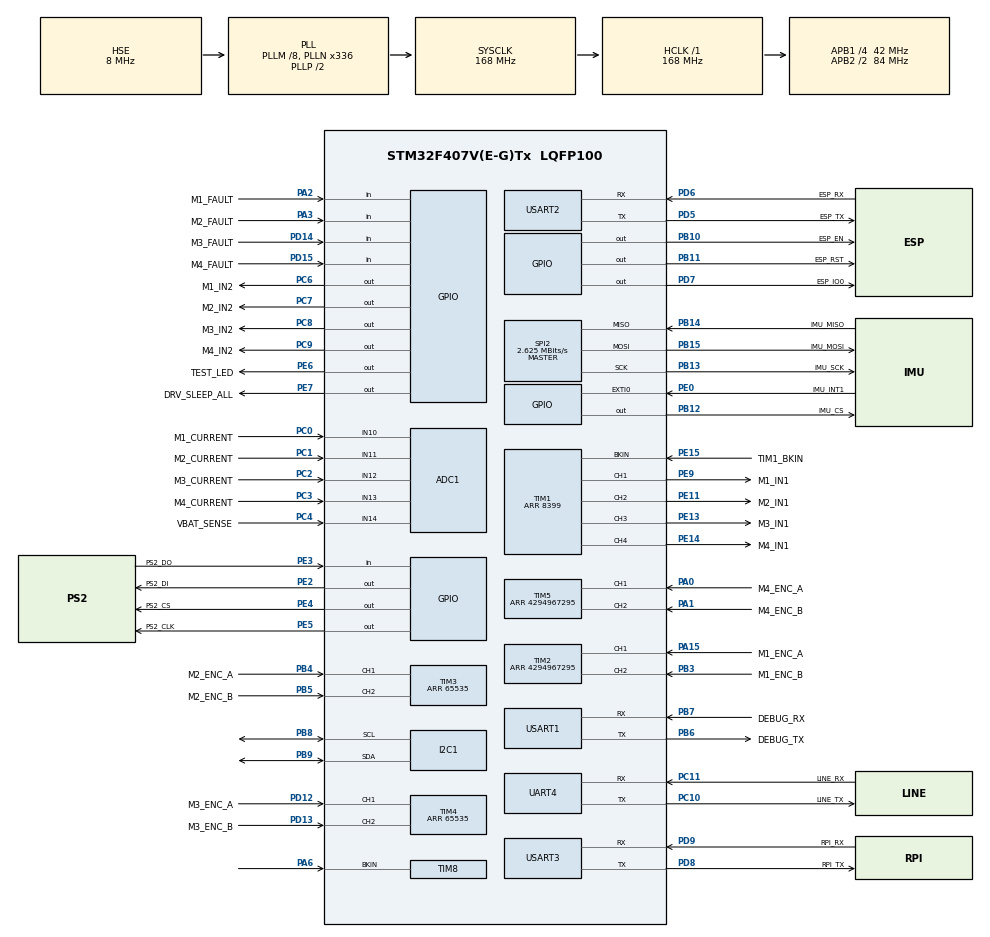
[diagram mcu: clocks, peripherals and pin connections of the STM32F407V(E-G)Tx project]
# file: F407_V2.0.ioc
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ADC1.Channel-5\#ChannelRegularConversion=ADC_CHANNEL_10
ADC1.Channel-6\#ChannelRegularConversion=ADC_CHANNEL_11
ADC1.Channel-7\#ChannelRegularConversion=ADC_CHANNEL_12
ADC1.Channel-8\#ChannelRegularConversion=ADC_CHANNEL_13
ADC1.Channel-9\#ChannelRegularConversion=ADC_CHANNEL_14
ADC1.ContinuousConvMode=DISABLE
ADC1.ExternalTrigConv=ADC_EXTERNALTRIGCONV_T8_TRGO
ADC1.ExternalTrigConvEdge=ADC_EXTERNALTRIGCONVEDGE_RISING
ADC1.DMAContinuousRequests=ENABLE
ADC1.NbrOfConversion=5
ADC1.NbrOfConversionFlag=1
ADC1.Rank-5\#ChannelRegularConversion=1
ADC1.Rank-6\#ChannelRegularConversion=2
ADC1.Rank-7\#ChannelRegularConversion=3
ADC1.Rank-8\#ChannelRegularConversion=4
ADC1.Rank-9\#ChannelRegularConversion=5
ADC1.SamplingTime-5\#ChannelRegularConversion=ADC_SAMPLETIME_84CYCLES
ADC1.SamplingTime-6\#ChannelRegularConversion=ADC_SAMPLETIME_84CYCLES
ADC1.SamplingTime-7\#ChannelRegularConversion=ADC_SAMPLETIME_84CYCLES
ADC1.SamplingTime-8\#ChannelRegularConversion=ADC_SAMPLETIME_84CYCLES
ADC1.SamplingTime-9\#ChannelRegularConversion=ADC_SAMPLETIME_84CYCLES
ADC1.master=1
Dma.ADC1.0.Direction=DMA_PERIPH_TO_MEMORY
Dma.ADC1.0.FIFOMode=DMA_FIFOMODE_DISABLE
Dma.ADC1.0.Instance=DMA2_Stream0
Dma.ADC1.0.MemDataAlignment=DMA_MDATAALIGN_HALFWORD
Dma.ADC1.0.MemInc=DMA_MINC_ENABLE
Dma.ADC1.0.Mode=DMA_CIRCULAR
Dma.ADC1.0.PeriphDataAlignment=DMA_PDATAALIGN_HALFWORD
Dma.ADC1.0.PeriphInc=DMA_PINC_DISABLE
Dma.ADC1.0.Priority=DMA_PRIORITY_MEDIUM
Dma.Request0=ADC1
Dma.Request1=USART3_RX
Dma.Request2=UART4_RX
Dma.UART4_RX.2.Direction=DMA_PERIPH_TO_MEMORY
Dma.UART4_RX.2.FIFOMode=DMA_FIFOMODE_DISABLE
Dma.UART4_RX.2.Instance=DMA1_Stream2
Dma.UART4_RX.2.MemDataAlignment=DMA_MDATAALIGN_BYTE
Dma.UART4_RX.2.MemInc=DMA_MINC_ENABLE
Dma.UART4_RX.2.Mode=DMA_CIRCULAR
Dma.UART4_RX.2.PeriphDataAlignment=DMA_PDATAALIGN_BYTE
Dma.UART4_RX.2.PeriphInc=DMA_PINC_DISABLE
Dma.UART4_RX.2.Priority=DMA_PRIORITY_MEDIUM
Dma.USART3_RX.1.Direction=DMA_PERIPH_TO_MEMORY
Dma.USART3_RX.1.FIFOMode=DMA_FIFOMODE_DISABLE
Dma.USART3_RX.1.Instance=DMA1_Stream1
Dma.USART3_RX.1.MemDataAlignment=DMA_MDATAALIGN_BYTE
Dma.USART3_RX.1.MemInc=DMA_MINC_ENABLE
Dma.USART3_RX.1.Mode=DMA_CIRCULAR
Dma.USART3_RX.1.PeriphDataAlignment=DMA_PDATAALIGN_BYTE
Dma.USART3_RX.1.PeriphInc=DMA_PINC_DISABLE
Dma.USART3_RX.1.Priority=DMA_PRIORITY_HIGH
FREERTOS.INCLUDE_pcTaskGetTaskName=1
FREERTOS.INCLUDE_uxTaskGetStackHighWaterMark2=1
FREERTOS.Tasks01=safetyTask,40,256,StartTask02,Default,NULL,Dynamic,NULL,NULL;motorTask,32,512,StartTask03,Default,NULL,Dynamic,NULL,NULL;rpiCommTask,24,512,StartTask04,Default,NULL,Dynamic,NULL,NULL;imuTask,24,512,StartTask05,Default,NULL,Dynamic,NULL,NULL;lineTask,16,1024,StartTask06,Default,NULL,Dynamic,NULL,NULL;espTask,16,512,StartTask07,Default,NULL,Dynamic,NULL,NULL;debugTask,16,1024,Task_Debug,Default,NULL,Dynamic,NULL,NULL;ps2Task,24,512,Task_Ps2,Default,NULL,Dynamic,NULL,NULL;ledTask,8,128,Task_Led,Default,NULL,Dynamic,NULL,NULL;oledTask,8,256,Task_Oled,Default,NULL,Dynamic,NULL,NULL
FREERTOS.configCHECK_FOR_STACK_OVERFLOW=2
FREERTOS.configTOTAL_HEAP_SIZE=49152
FREERTOS.configUSE_MALLOC_FAILED_HOOK=1
IWDG.Prescaler=IWDG_PRESCALER_32
IWDG.Reload=1000
Mcu.Family=STM32F4
Mcu.Name=STM32F407V(E-G)Tx
Mcu.Package=LQFP100
NVIC.DMA1_Stream1_IRQn=true\:5\:0\:false\:false\:true\:true\:false\:true\:true
NVIC.DMA1_Stream2_IRQn=true\:5\:0\:false\:false\:true\:true\:false\:true\:true
NVIC.DMA2_Stream0_IRQn=true\:5\:0\:false\:false\:true\:true\:false\:true\:true
NVIC.EXTI0_IRQn=true\:5\:0\:false\:false\:true\:true\:true\:true\:true
NVIC.PriorityGroup=NVIC_PRIORITYGROUP_4
NVIC.TIM1_BRK_TIM9_IRQn=true\:5\:0\:false\:false\:true\:true\:true\:true\:true
NVIC.TIM6_DAC_IRQn=true\:15\:0\:false\:false\:true\:false\:false\:true\:true
NVIC.TimeBase=TIM6_DAC_IRQn
NVIC.TimeBaseIP=TIM6
NVIC.UART4_IRQn=true\:6\:0\:true\:false\:true\:true\:true\:true\:true
NVIC.USART2_IRQn=true\:7\:0\:true\:false\:true\:true\:true\:true\:true
NVIC.USART3_IRQn=true\:6\:0\:true\:false\:true\:true\:true\:true\:true
PA0-WKUP.GPIO_Label=M4_ENC_A
PA0-WKUP.Signal=S_TIM5_CH1
PA1.GPIO_Label=M4_ENC_B
PA1.Signal=S_TIM5_CH2
PA13.Mode=Serial_Wire
PA13.Signal=SYS_JTMS-SWDIO
PA14.Mode=Serial_Wire
PA14.Signal=SYS_JTCK-SWCLK
PA15.GPIO_Label=M1_ENC_A
PA15.Signal=S_TIM2_CH1_ETR
PA2.GPIO_Label=M1_FAULT
PA2.GPIO_PuPd=GPIO_PULLUP
PA2.Signal=GPIO_Input
PA3.GPIO_Label=M2_FAULT
PA3.GPIO_PuPd=GPIO_PULLUP
PA3.Signal=GPIO_Input
PA6.Mode=Activate-Break-Input
PA6.Signal=TIM8_BKIN
PB10.GPIO_Label=ESP_EN
PB10.PinState=GPIO_PIN_SET
PB10.Signal=GPIO_Output
PB11.GPIO_Label=ESP_RST
PB11.PinState=GPIO_PIN_SET
PB11.Signal=GPIO_Output
PB12.GPIO_Label=IMU_CS
PB12.PinState=GPIO_PIN_SET
PB12.Signal=GPIO_Output
PB13.GPIO_Label=IMU_SCK
PB13.Mode=Full_Duplex_Master
PB13.Signal=SPI2_SCK
PB14.GPIO_Label=IMU_MISO
PB14.Mode=Full_Duplex_Master
PB14.Signal=SPI2_MISO
PB15.GPIO_Label=IMU_MOSI
PB15.Mode=Full_Duplex_Master
PB15.Signal=SPI2_MOSI
PB3.GPIO_Label=M1_ENC_B
PB3.Signal=S_TIM2_CH2
PB4.GPIO_Label=M2_ENC_A
PB4.Signal=S_TIM3_CH1
PB5.GPIO_Label=M2_ENC_B
PB5.Signal=S_TIM3_CH2
PB6.GPIO_Label=DEBUG_TX
PB6.Mode=Asynchronous
PB6.Signal=USART1_TX
PB7.GPIO_Label=DEBUG_RX
PB7.Mode=Asynchronous
PB7.Signal=USART1_RX
PB8.Mode=I2C
PB8.Signal=I2C1_SCL
PB9.Mode=I2C
PB9.Signal=I2C1_SDA
PC0.GPIO_Label=M1_CURRENT
PC0.Signal=ADCx_IN10
PC1.GPIO_Label=M2_CURRENT
PC1.Signal=ADCx_IN11
PC10.GPIO_Label=LINE_TX
PC10.Mode=Asynchronous
PC10.Signal=UART4_TX
PC11.GPIO_Label=LINE_RX
PC11.Mode=Asynchronous
PC11.Signal=UART4_RX
PC2.GPIO_Label=M3_CURRENT
PC2.Signal=ADCx_IN12
PC3.GPIO_Label=M4_CURRENT
PC3.Signal=ADCx_IN13
PC4.GPIO_Label=VBAT_SENSE
PC4.Signal=ADCx_IN14
PC6.GPIO_Label=M1_IN2
PC6.PinState=GPIO_PIN_RESET
PC6.Signal=GPIO_Output
PC7.GPIO_Label=M2_IN2
PC7.PinState=GPIO_PIN_RESET
PC7.Signal=GPIO_Output
PC8.GPIO_Label=M3_IN2
PC8.PinState=GPIO_PIN_RESET
PC8.Signal=GPIO_Output
PC9.GPIO_Label=M4_IN2
PC9.PinState=GPIO_PIN_RESET
PC9.Signal=GPIO_Output
PD12.GPIO_Label=M3_ENC_A
PD12.Signal=S_TIM4_CH1
PD13.GPIO_Label=M3_ENC_B
PD13.Signal=S_TIM4_CH2
PD14.GPIO_Label=M3_FAULT
PD14.GPIO_PuPd=GPIO_PULLUP
PD14.Signal=GPIO_Input
PD15.GPIO_Label=M4_FAULT
PD15.GPIO_PuPd=GPIO_PULLUP
PD15.Signal=GPIO_Input
PD5.GPIO_Label=ESP_TX
PD5.Mode=Asynchronous
PD5.Signal=USART2_TX
PD6.GPIO_Label=ESP_RX
PD6.Mode=Asynchronous
PD6.Signal=USART2_RX
PD7.GPIO_Label=ESP_IO0
PD7.PinState=GPIO_PIN_SET
PD7.Signal=GPIO_Output
PD8.GPIO_Label=RPI_TX
PD8.Mode=Asynchronous
PD8.Signal=USART3_TX
PD9.GPIO_Label=RPI_RX
PD9.Mode=Asynchronous
PD9.Signal=USART3_RX
PE0.GPIO_Label=IMU_INT1
PE0.Signal=GPXTI0
PE11.GPIO_Label=M2_IN1
PE11.Signal=S_TIM1_CH2
PE13.GPIO_Label=M3_IN1
PE13.Signal=S_TIM1_CH3
PE14.GPIO_Label=M4_IN1
PE14.Signal=S_TIM1_CH4
PE15.GPIO_Label=TIM1_BKIN
PE15.Mode=Activate-Break-Input
PE15.Signal=TIM1_BKIN
PE2.GPIO_Label=PS2_DI
PE2.PinState=GPIO_PIN_SET
PE2.Signal=GPIO_Output
PE3.GPIO_Label=PS2_DO
PE3.GPIO_PuPd=GPIO_PULLUP
PE3.Signal=GPIO_Input
PE4.GPIO_Label=PS2_CS
PE4.PinState=GPIO_PIN_SET
PE4.Signal=GPIO_Output
PE5.GPIO_Label=PS2_CLK
PE5.PinState=GPIO_PIN_SET
PE5.Signal=GPIO_Output
PE6.GPIO_Label=TEST_LED
PE6.Signal=GPIO_Output
PE7.GPIO_Label=DRV_SLEEP_ALL
PE7.Signal=GPIO_Output
PE9.GPIO_Label=M1_IN1
PE9.Signal=S_TIM1_CH1
PH0-OSC_IN.Mode=HSE-External-Oscillator
PH0-OSC_IN.Signal=RCC_OSC_IN
PH1-OSC_OUT.Mode=HSE-External-Oscillator
PH1-OSC_OUT.Signal=RCC_OSC_OUT
ProjectManager.HeapSize=0x2000
ProjectManager.StackSize=0x1000
ProjectManager.TargetToolchain=CMake
RCC.48MHZClocksFreq_Value=84000000
RCC.AHBFreq_Value=168000000
RCC.APB1CLKDivider=RCC_HCLK_DIV4
RCC.APB1Freq_Value=42000000
RCC.APB1TimFreq_Value=84000000
RCC.APB2CLKDivider=RCC_HCLK_DIV2
RCC.APB2Freq_Value=84000000
RCC.APB2TimFreq_Value=168000000
RCC.CortexFreq_Value=168000000
RCC.HCLKFreq_Value=168000000
RCC.HSE_VALUE=8000000
RCC.HSI_VALUE=16000000
RCC.LSE_VALUE=32768
RCC.PLLM=4
RCC.PLLN=168
RCC.PLLSourceVirtual=RCC_PLLSOURCE_HSE
RCC.SYSCLKFreq_VALUE=168000000
RCC.SYSCLKSource=RCC_SYSCLKSOURCE_PLLCLK
RCC.VCOOutputFreq_Value=336000000
SH.ADCx_IN10.0=ADC1_IN10,IN10
SH.ADCx_IN11.0=ADC1_IN11,IN11
SH.ADCx_IN12.0=ADC1_IN12,IN12
SH.ADCx_IN13.0=ADC1_IN13,IN13
SH.ADCx_IN14.0=ADC1_IN14,IN14
SH.S_TIM1_CH1.0=TIM1_CH1,PWM Generation1 CH1
SH.S_TIM1_CH2.0=TIM1_CH2,PWM Generation2 CH2
SH.S_TIM1_CH3.0=TIM1_CH3,PWM Generation3 CH3
SH.S_TIM1_CH4.0=TIM1_CH4,PWM Generation4 CH4
SH.S_TIM2_CH1_ETR.0=TIM2_CH1,Encoder_Interface
SH.S_TIM2_CH2.0=TIM2_CH2,Encoder_Interface
SH.S_TIM3_CH1.0=TIM3_CH1,Encoder_Interface
SH.S_TIM3_CH2.0=TIM3_CH2,Encoder_Interface
SH.S_TIM4_CH1.0=TIM4_CH1,Encoder_Interface
SH.S_TIM4_CH2.0=TIM4_CH2,Encoder_Interface
SH.S_TIM5_CH1.0=TIM5_CH1,Encoder_Interface
SH.S_TIM5_CH2.0=TIM5_CH2,Encoder_Interface
SPI2.BaudRatePrescaler=SPI_BAUDRATEPRESCALER_16
SPI2.CalculateBaudRate=2.625 MBits/s
SPI2.Direction=SPI_DIRECTION_2LINES
SPI2.Mode=SPI_MODE_MASTER
SPI2.VirtualType=VM_MASTER
TIM1.BreakPolarity=TIM_BREAKPOLARITY_LOW
TIM1.AutomaticOutput=TIM_AUTOMATICOUTPUT_DISABLE
TIM1.Channel-PWM\ Generation1\ CH1=TIM_CHANNEL_1
TIM1.Channel-PWM\ Generation2\ CH2=TIM_CHANNEL_2
TIM1.Channel-PWM\ Generation3\ CH3=TIM_CHANNEL_3
TIM1.Channel-PWM\ Generation4\ CH4=TIM_CHANNEL_4
TIM1.Period=8399
TIM2.EncoderMode=TIM_ENCODERMODE_TI12
TIM2.IC1Filter=8
TIM2.IC2Filter=8
TIM2.Period=4294967295
TIM3.EncoderMode=TIM_ENCODERMODE_TI12
TIM3.IC1Filter=8
TIM3.IC2Filter=8
TIM3.Period=65535
TIM4.EncoderMode=TIM_ENCODERMODE_TI12
TIM4.IC1Filter=8
TIM4.IC2Filter=8
TIM4.Period=65535
TIM5.EncoderMode=TIM_ENCODERMODE_TI12
TIM5.IC1Filter=8
TIM5.IC2Filter=8
TIM5.Period=4294967295
TIM8.BreakPolarity=TIM_BREAKPOLARITY_LOW
TIM8.AutomaticOutput=TIM_AUTOMATICOUTPUT_ENABLE
TIM8.MasterOutputTrigger=TIM_TRGO_UPDATE
TIM8.Period=8399
TIM8.RepetitionCounter=9
UART4.VirtualMode=Asynchronous
USART1.VirtualMode=VM_ASYNC
USART2.VirtualMode=VM_ASYNC
USART3.VirtualMode=VM_ASYNC
VP_FREERTOS_VS_CMSIS_V2.Mode=CMSIS_V2
VP_IWDG_VS_IWDG.Mode=IWDG_Activate
VP_SYS_VS_tim6.Mode=TIM6
VP_TIM1_VS_ClockSourceINT.Mode=Internal
VP_TIM8_VS_ClockSourceINT.Mode=Internal
board=custom

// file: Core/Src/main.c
/* USER CODE BEGIN Header */
/**
  ******************************************************************************
  * @file           : main.c
  * @brief          : Main program body
  ******************************************************************************
  * @attention
  *
  * Copyright (c) 2026 STMicroelectronics.
  * All rights reserved.
  *
  * This software is licensed under terms that can be found in the LICENSE file
  * in the root directory of this software component.
  * If no LICENSE file comes with this software, it is provided AS-IS.
  *
  ******************************************************************************
  */
/* USER CODE END Header */
#include "main.h"
#include "cmsis_os.h"
#include "adc.h"
#include "dma.h"
#include "i2c.h"
#include "spi.h"
#include "tim.h"
#include "usart.h"
#include "gpio.h"

/* USER CODE BEGIN Includes */
#include "platform_reset_trace.h"

/* USER CODE END Includes */

void SystemClock_Config(void);
void MX_FREERTOS_Init(void);

/* USER CODE BEGIN 0 */
static void Error_DisableMotorDriver(void)
{
  DRV_SLEEP_ALL_GPIO_Port->BSRR = ((uint32_t)DRV_SLEEP_ALL_Pin << 16U);
}

/* USER CODE END 0 */

int main(void)
{

  /* MCU Configuration--------------------------------------------------------*/

  /* Reset of all peripherals, Initializes the Flash interface and the Systick. */
  HAL_Init();

  /* Configure the system clock */
  SystemClock_Config();

  /* Initialize all configured peripherals */
  MX_GPIO_Init();
  MX_DMA_Init();
  MX_ADC1_Init();
  MX_I2C1_Init();
  MX_TIM1_Init();
  MX_TIM2_Init();
  MX_TIM3_Init();
  MX_TIM4_Init();
  MX_TIM5_Init();
  MX_TIM8_Init();
  MX_USART1_UART_Init();
  MX_USART2_UART_Init();
  MX_USART3_UART_Init();
  MX_SPI2_Init();
  MX_UART4_Init();

  /* Init scheduler */
  osKernelInitialize();  /* Call init function for freertos objects (in cmsis_os2.c) */
  MX_FREERTOS_Init();

  /* Start scheduler */
  osKernelStart();

  /* We should never get here as control is now taken by the scheduler */

  /* Infinite loop */
  while (1)
  {

  }
}

void SystemClock_Config(void)
{
  RCC_OscInitTypeDef RCC_OscInitStruct = {0};
  RCC_ClkInitTypeDef RCC_ClkInitStruct = {0};

  /** Configure the main internal regulator output voltage
  */
  __HAL_RCC_PWR_CLK_ENABLE();
  __HAL_PWR_VOLTAGESCALING_CONFIG(PWR_REGULATOR_VOLTAGE_SCALE1);

  /** Initializes the RCC Oscillators according to the specified parameters
  * in the RCC_OscInitTypeDef structure.
  */
  RCC_OscInitStruct.OscillatorType = RCC_OSCILLATORTYPE_HSE|RCC_OSCILLATORTYPE_LSI;
  RCC_OscInitStruct.HSEState = RCC_HSE_ON;
  RCC_OscInitStruct.LSIState = RCC_LSI_ON;
  RCC_OscInitStruct.PLL.PLLState = RCC_PLL_ON;
  RCC_OscInitStruct.PLL.PLLSource = RCC_PLLSOURCE_HSE;
  RCC_OscInitStruct.PLL.PLLM = 8;
  RCC_OscInitStruct.PLL.PLLN = 336;
  RCC_OscInitStruct.PLL.PLLP = RCC_PLLP_DIV2;
  RCC_OscInitStruct.PLL.PLLQ = 7;
  if (HAL_RCC_OscConfig(&RCC_OscInitStruct) != HAL_OK)
  {
    Error_Handler();
  }

  /** Initializes the CPU, AHB and APB buses clocks
  */
  RCC_ClkInitStruct.ClockType = RCC_CLOCKTYPE_HCLK|RCC_CLOCKTYPE_SYSCLK
                              |RCC_CLOCKTYPE_PCLK1|RCC_CLOCKTYPE_PCLK2;
  RCC_ClkInitStruct.SYSCLKSource = RCC_SYSCLKSOURCE_PLLCLK;
  RCC_ClkInitStruct.AHBCLKDivider = RCC_SYSCLK_DIV1;
  RCC_ClkInitStruct.APB1CLKDivider = RCC_HCLK_DIV4;
  RCC_ClkInitStruct.APB2CLKDivider = RCC_HCLK_DIV2;

  if (HAL_RCC_ClockConfig(&RCC_ClkInitStruct, FLASH_LATENCY_5) != HAL_OK)
  {
    Error_Handler();
  }
}

void HAL_TIM_PeriodElapsedCallback(TIM_HandleTypeDef *htim)
{
  if (htim->Instance == TIM6)
  {
    HAL_IncTick();
  }
}

void Error_Handler(void)
{
  /* USER CODE BEGIN Error_Handler_Debug */
  /* User can add his own implementation to report the HAL error return state */
  PlatformResetTrace_Capture(RESET_TRACE_KIND_ERROR_HANDLER, 0U, 0U);
  Error_DisableMotorDriver();
  __disable_irq();
  while (1)
  {
  }
  /* USER CODE END Error_Handler_Debug */
}

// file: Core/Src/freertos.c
/* USER CODE BEGIN Header */
/**
  ******************************************************************************
  * File Name          : freertos.c
  * Description        : Code for freertos applications
  ******************************************************************************
  * @attention
  *
  * Copyright (c) 2026 STMicroelectronics.
  * All rights reserved.
  *
  * This software is licensed under terms that can be found in the LICENSE file
  * in the root directory of this software component.
  * If no LICENSE file comes with this software, it is provided AS-IS.
  *
  ******************************************************************************
  */
/* USER CODE END Header */

#include "FreeRTOS.h"
#include "task.h"
#include "main.h"
#include "cmsis_os.h"

/* USER CODE BEGIN Includes */
#include "app_init.h"
#include "app_tasks.h"
#include "platform_reset.h"
#include "platform_task_event.h"
#include "platform_watchdog.h"
#include "platform_reset_trace.h"

#include <string.h>

/* USER CODE END Includes */

/* USER CODE BEGIN PD */
#define FREERTOS_FATAL_ASSERT          1UL
#define FREERTOS_FATAL_STACK_OVERFLOW  2UL
#define FREERTOS_FATAL_MALLOC_FAILED   3UL
#define FREERTOS_FATAL_TASK_CREATE     4UL
#define SAFETY_TASK_STACK_SIZE_BYTES   4096U
#define SAFETY_TASK_STACK_MIN_BYTES    3072U
#define MOTOR_TASK_STACK_SIZE_BYTES    3072U
#define MOTOR_TASK_STACK_MIN_BYTES     3072U
#define OLED_TASK_STACK_SIZE_BYTES     2048U
#define OLED_TASK_STACK_MIN_BYTES      2048U

_Static_assert(SAFETY_TASK_STACK_SIZE_BYTES >= SAFETY_TASK_STACK_MIN_BYTES,
               "safetyTask stack is below the monitored-control budget");
_Static_assert(MOTOR_TASK_STACK_SIZE_BYTES >= MOTOR_TASK_STACK_MIN_BYTES,
               "motorTask stack is below the closed-loop diagnostic budget");
_Static_assert(OLED_TASK_STACK_SIZE_BYTES >= OLED_TASK_STACK_MIN_BYTES,
               "oledTask stack is below the runtime-page budget");

/* USER CODE END PD */

/* USER CODE BEGIN Variables */
volatile uint32_t freertos_fatal_reason;
volatile uint32_t freertos_fatal_line;
volatile const char *freertos_fatal_file;

osThreadId_t usart1DebugTaskHandle;
const osThreadAttr_t usart1DebugTask_attributes = {
  .name = "debugTask",
  .stack_size = 2048 * 6,
  .priority = (osPriority_t) osPriorityBelowNormal,
};

osThreadId_t ps2TaskHandle;
const osThreadAttr_t ps2Task_attributes = {
  .name = "ps2Task",
  .stack_size = 512 * 4,
  .priority = (osPriority_t) osPriorityNormal,
};

osThreadId_t ledTaskHandle;
const osThreadAttr_t ledTask_attributes = {
  .name = "ledTask",
  .stack_size = 128 * 4,
  .priority = (osPriority_t) osPriorityLow,
};

osThreadId_t oledTaskHandle;
const osThreadAttr_t oledTask_attributes = {
  .name = "oledTask",
  .stack_size = OLED_TASK_STACK_SIZE_BYTES,
  .priority = (osPriority_t) osPriorityLow,
};

/* USER CODE END Variables */
/* Definitions for safetyTask */
osThreadId_t safetyTaskHandle;
const osThreadAttr_t safetyTask_attributes = {
  .name = "safetyTask",
  .stack_size = SAFETY_TASK_STACK_SIZE_BYTES,
  .priority = (osPriority_t) osPriorityHigh,
};
/* Definitions for motorTask */
osThreadId_t motorTaskHandle;
const osThreadAttr_t motorTask_attributes = {
  .name = "motorTask",
  .stack_size = MOTOR_TASK_STACK_SIZE_BYTES,
  .priority = (osPriority_t) osPriorityAboveNormal,
};
/* Definitions for rpiCommTask */
osThreadId_t rpiCommTaskHandle;
const osThreadAttr_t rpiCommTask_attributes = {
  .name = "rpiCommTask",
  .stack_size = 512 * 4,
  .priority = (osPriority_t) osPriorityNormal,
};
/* Definitions for imuTask */
osThreadId_t imuTaskHandle;
const osThreadAttr_t imuTask_attributes = {
  .name = "imuTask",
  .stack_size = 512 * 4,
  .priority = (osPriority_t) osPriorityNormal,
};
/* Definitions for lineTask */
osThreadId_t lineTaskHandle;
const osThreadAttr_t lineTask_attributes = {
  .name = "lineTask",
  .stack_size = 1024 * 4,
  .priority = (osPriority_t) osPriorityBelowNormal,
};
/* Definitions for espTask */
osThreadId_t espTaskHandle;
const osThreadAttr_t espTask_attributes = {
  .name = "espTask",
  .stack_size = 512 * 4,
  .priority = (osPriority_t) osPriorityBelowNormal,
};
/* USER CODE BEGIN FunctionPrototypes */
static void FreeRtos_FatalStop(uint32_t reason,
                               const char *file,
                               uint32_t line,
                               reset_trace_task_t task);
static reset_trace_task_t FreeRtos_TaskFromName(const char *name);

/* USER CODE END FunctionPrototypes */

void StartTask02(void *argument);  /* safetyTask — 状态聚合/看门狗 */
void StartTask03(void *argument);  /* motorTask — 电机控制链 */
void StartTask04(void *argument);  /* rpiCommTask — USART3 上位机协议 */
void StartTask05(void *argument);  /* imuTask — BMI270 采样 */
void StartTask06(void *argument);  /* lineTask — 巡线传感器 */
void StartTask07(void *argument);  /* espTask — ESP12F 协议 */
void Task_Debug(void *argument);
void Task_Ps2(void *argument);
void Task_Led(void *argument);
void Task_Oled(void *argument);

void MX_FREERTOS_Init(void); /* (MISRA C 2004 rule 8.1) */

/* Hook prototypes */
void vApplicationStackOverflowHook(xTaskHandle xTask, signed char *pcTaskName);
void vApplicationMallocFailedHook(void);

/* USER CODE BEGIN 4 */
static reset_trace_task_t FreeRtos_TaskFromName(const char *name)
{
  if (name == NULL)
  {
    return RESET_TRACE_TASK_NONE;
  }
  if (strcmp(name, "safetyTask") == 0)
  {
    return RESET_TRACE_TASK_SAFETY;
  }
  if (strcmp(name, "motorTask") == 0)
  {
    return RESET_TRACE_TASK_MOTOR;
  }
  if (strcmp(name, "ps2Task") == 0)
  {
    return RESET_TRACE_TASK_PS2;
  }
  if (strcmp(name, "espTask") == 0)
  {
    return RESET_TRACE_TASK_ESP;
  }
  if (strcmp(name, "debugTask") == 0)
  {
    return RESET_TRACE_TASK_DEBUG;
  }
  return RESET_TRACE_TASK_NONE;
}

static void FreeRtos_FatalStop(uint32_t reason,
                               const char *file,
                               uint32_t line,
                               reset_trace_task_t task)
{
  freertos_fatal_reason = reason;
  freertos_fatal_file = file;
  freertos_fatal_line = line;
  PlatformResetTrace_CaptureWithTask(RESET_TRACE_KIND_FREERTOS, reason, line, task);
  DRV_SLEEP_ALL_GPIO_Port->BSRR = ((uint32_t)DRV_SLEEP_ALL_Pin << 16U);
  PlatformReset_FatalStop();
}

void vApplicationStackOverflowHook(xTaskHandle xTask, signed char *pcTaskName)
{
   /* Run time stack overflow checking is performed if
   configCHECK_FOR_STACK_OVERFLOW is defined to 1 or 2. This hook function is
   called if a stack overflow is detected. */
  (void)xTask;
  FreeRtos_FatalStop(FREERTOS_FATAL_STACK_OVERFLOW,
                     (const char *)pcTaskName,
                     0U,
                     FreeRtos_TaskFromName((const char *)pcTaskName));
}
/* USER CODE END 4 */

/* USER CODE BEGIN 5 */
void vApplicationMallocFailedHook(void)
{
   /* vApplicationMallocFailedHook() will only be called if
   configUSE_MALLOC_FAILED_HOOK is set to 1 in FreeRTOSConfig.h. It is a hook
   function that will get called if a call to pvPortMalloc() fails.
   pvPortMalloc() is called internally by the kernel whenever a task, queue,
   timer or semaphore is created. It is also called by various parts of the
  demo application. If heap_1.c or heap_2.c are used, then the size of the
  heap available to pvPortMalloc() is defined by configTOTAL_HEAP_SIZE in
  FreeRTOSConfig.h, and the xPortGetFreeHeapSize() API function can be used
  to query the size of free heap space that remains (although it does not
  provide information on how the remaining heap might be fragmented). */
  FreeRtos_FatalStop(FREERTOS_FATAL_MALLOC_FAILED, 0, 0U, RESET_TRACE_TASK_NONE);
}
/* USER CODE END 5 */

/* USER CODE BEGIN 6 */
void vApplicationAssertHook(const char *file, unsigned long line)
{
  FreeRtos_FatalStop(FREERTOS_FATAL_ASSERT, file, (uint32_t)line, RESET_TRACE_TASK_NONE);
}
/* USER CODE END 6 */

void MX_FREERTOS_Init(void) {
  /* USER CODE BEGIN Init */
  App_Init();

  /* USER CODE END Init */

  /* Create the thread(s) */
  /* creation of safetyTask */
  safetyTaskHandle = osThreadNew(StartTask02, NULL, &safetyTask_attributes);

  /* creation of motorTask */
  motorTaskHandle = osThreadNew(StartTask03, NULL, &motorTask_attributes);

  /* creation of rpiCommTask */
  rpiCommTaskHandle = osThreadNew(StartTask04, NULL, &rpiCommTask_attributes);

  /* creation of imuTask */
  imuTaskHandle = osThreadNew(StartTask05, NULL, &imuTask_attributes);

  /* creation of lineTask */
  lineTaskHandle = osThreadNew(StartTask06, NULL, &lineTask_attributes);

  /* creation of espTask */
  espTaskHandle = osThreadNew(StartTask07, NULL, &espTask_attributes);

  /* USER CODE BEGIN RTOS_THREADS */
  usart1DebugTaskHandle = osThreadNew(Task_Debug, NULL, &usart1DebugTask_attributes);
  ps2TaskHandle = osThreadNew(Task_Ps2, NULL, &ps2Task_attributes);
  ledTaskHandle = osThreadNew(Task_Led, NULL, &ledTask_attributes);
  oledTaskHandle = osThreadNew(Task_Oled, NULL, &oledTask_attributes);
  /* USER CODE END RTOS_THREADS */

  /* USER CODE BEGIN RTOS_EVENTS */
  /* add events, ... */
  if (safetyTaskHandle == NULL ||
      motorTaskHandle == NULL ||
      rpiCommTaskHandle == NULL ||
      imuTaskHandle == NULL ||
      lineTaskHandle == NULL ||
      espTaskHandle == NULL ||
      usart1DebugTaskHandle == NULL ||
      ps2TaskHandle == NULL ||
      ledTaskHandle == NULL ||
      oledTaskHandle == NULL)
  {
    FreeRtos_FatalStop(FREERTOS_FATAL_TASK_CREATE, __FILE__, __LINE__, RESET_TRACE_TASK_NONE);
  }
  PlatformTaskEvent_Bind(PLATFORM_TASK_EVENT_IMU_DRDY, imuTaskHandle);
#if defined(DEBUG)
  __HAL_DBGMCU_FREEZE_IWDG();
#endif
  PlatformWatchdog_Init();
  /* USER CODE END RTOS_EVENTS */

}

void StartTask02(void *argument)
{
  /* USER CODE BEGIN StartTask02 */
  Task_Safety(argument);
  /* USER CODE END StartTask02 */
}

void StartTask03(void *argument)
{
  /* USER CODE BEGIN StartTask03 */
  Task_MotorControl(argument);
  /* USER CODE END StartTask03 */
}

void StartTask04(void *argument)
{
  /* USER CODE BEGIN StartTask04 */
  Task_RpiComm(argument);
  /* USER CODE END StartTask04 */
}

void StartTask05(void *argument)
{
  /* USER CODE BEGIN StartTask05 */
  Task_Imu(argument);
  /* USER CODE END StartTask05 */
}

void StartTask06(void *argument)
{
  /* USER CODE BEGIN StartTask06 */
  Task_Line(argument);
  /* USER CODE END StartTask06 */
}

void StartTask07(void *argument)
{
  /* USER CODE BEGIN StartTask07 */
  Task_Esp12f(argument);
  /* USER CODE END StartTask07 */
}
